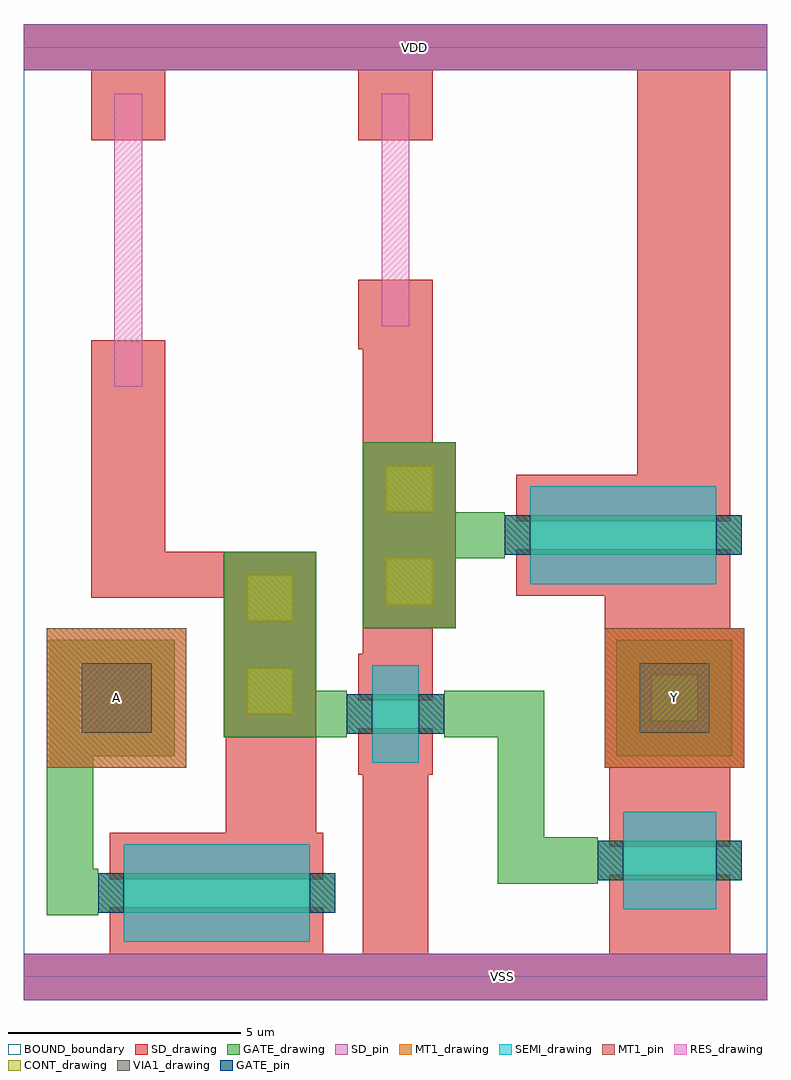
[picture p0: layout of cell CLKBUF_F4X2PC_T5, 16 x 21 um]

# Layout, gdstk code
from math import pi, radians
import gdstk
lib = gdstk.Library(unit=1e-6, precision=1e-09)
def R(c, l, rs):  # rectangles x0, y0, x1, y1
    for r in rs: c.add(gdstk.rectangle(r[:2], r[2:], *l))
def P(c, l, *ps):  # polygons
    for p in ps: c.add(gdstk.Polygon(p, *l))
RES_drawing = (1, 0)
SEMI_drawing = (3, 0)
SD_drawing = (10, 0)
SD_pin = (10, 3)
GATE_drawing = (11, 0)
GATE_pin = (11, 3)
MT1_drawing = (20, 0)
MT1_pin = (20, 3)
CONT_drawing = (30, 0)
VIA1_drawing = (41, 0)
BOUND_boundary = (150, 5)

nch_cdns_772544864490 = lib.new_cell('nch_CDNS_772544864490')
R(nch_cdns_772544864490, SEMI_drawing, [(-1.05,-2,1.05,2)])
R(nch_cdns_772544864490, SD_drawing, [(-1.3,-2.3,-0.3,2.3), (0.3,-2.3,1.3,2.3)])
R(nch_cdns_772544864490, GATE_drawing, [(-0.425,-2.55,0.425,2.55)])
R(nch_cdns_772544864490, GATE_pin, [(-0.425,-2.55,0.425,-2), (-0.425,2,0.425,2.55)])

res_cdns_772544864491 = lib.new_cell('res_CDNS_772544864491')
R(res_cdns_772544864491, RES_drawing, [(-0.3,-3.15,0.3,3.15)])
R(res_cdns_772544864491, SD_drawing, [(-0.8,-3.65,0.8,-2.15), (-0.8,2.15,0.8,3.65)])

res_cdns_772544864492 = lib.new_cell('res_CDNS_772544864492')
R(res_cdns_772544864492, RES_drawing, [(-0.3,-2.5,0.3,2.5)])
R(res_cdns_772544864492, SD_drawing, [(-0.8,-3,0.8,-1.5), (-0.8,1.5,0.8,3)])

nch_cdns_772544864493 = lib.new_cell('nch_CDNS_772544864493')
R(nch_cdns_772544864493, SEMI_drawing, [(-1.05,-1,1.05,1)])
R(nch_cdns_772544864493, SD_drawing, [(-1.3,-1.3,-0.3,1.3), (0.3,-1.3,1.3,1.3)])
R(nch_cdns_772544864493, GATE_drawing, [(-0.425,-1.55,0.425,1.55)])
R(nch_cdns_772544864493, GATE_pin, [(-0.425,-1.55,0.425,-1), (-0.425,1,0.425,1.55)])

nch_cdns_772544864494 = lib.new_cell('nch_CDNS_772544864494')
R(nch_cdns_772544864494, SEMI_drawing, [(-1.05,-0.5,1.05,0.5)])
R(nch_cdns_772544864494, SD_drawing, [(-1.3,-0.8,-0.3,0.8), (0.3,-0.8,1.3,0.8)])
R(nch_cdns_772544864494, GATE_drawing, [(-0.425,-1.05,0.425,1.05)])
R(nch_cdns_772544864494, GATE_pin, [(-0.425,-1.05,0.425,-0.5), (-0.425,0.5,0.425,1.05)])

gate_mt1_cdns_7725448644 = lib.new_cell('GATE_MT1_CDNS_772544864490')
R(gate_mt1_cdns_7725448644, GATE_drawing, [(-1.25,-1.25,1.25,1.25)])
R(gate_mt1_cdns_7725448644, MT1_drawing, [(-1.25,-1.25,1.25,1.25)])
R(gate_mt1_cdns_7725448644, VIA1_drawing, [(-0.75,-0.75,0.75,0.75)])

sd_gate_cdns_77254486449 = lib.new_cell('SD_GATE_CDNS_772544864491')
R(sd_gate_cdns_77254486449, SD_drawing, [(-1,-1,1,1)])
R(sd_gate_cdns_77254486449, GATE_drawing, [(-1,-1,1,1)])
R(sd_gate_cdns_77254486449, CONT_drawing, [(-0.5,-0.5,0.5,0.5)])

c_sd_gate_cdns_77254486449 = lib.new_cell('SD_GATE_CDNS_772544864492')
R(c_sd_gate_cdns_77254486449, SD_drawing, [(-1,-2,1,2)])
R(c_sd_gate_cdns_77254486449, GATE_drawing, [(-1,-2,1,2)])
R(c_sd_gate_cdns_77254486449, CONT_drawing, [(-0.5,-1.5,0.5,-0.5), (-0.5,0.5,0.5,1.5)])

c_sd_gate_cdns_77254486449_ = lib.new_cell('SD_GATE_CDNS_772544864493')
R(c_sd_gate_cdns_77254486449_, SD_drawing, [(-2,-1,2,1)])
R(c_sd_gate_cdns_77254486449_, GATE_drawing, [(-2,-1,2,1)])
R(c_sd_gate_cdns_77254486449_, CONT_drawing, [(-1.5,-0.5,-0.5,0.5), (0.5,-0.5,1.5,0.5)])

clkbuf_f4x2pc_t5 = lib.new_cell('CLKBUF_F4X2PC_T5')
R(clkbuf_f4x2pc_t5, SD_drawing, [(12.5,4.5,15.5,7.5), (7.3,6.95,8.8,13.5), (12.5,7.5,15.2,8.2)])
R(clkbuf_f4x2pc_t5, SD_pin, [(0,-0.5,16,0.5), (0,19.5,16,20.5)])
P(clkbuf_f4x2pc_t5, GATE_drawing, [(12.25,3),(12.25,2),(12.35,2),(12.35,2.125),(12.4,2.125),(12.4,2.875),(12.35,2.875),(12.35,3)],
  [(9.15,6.15),(9.15,5.15),(9.05,5.15),(9.05,5.275),(9,5.275),(9,6.025),(9.05,6.025),(9.05,6.15)],
  [(6.85,6.15),(6.85,5.15),(6.95,5.15),(6.95,5.275),(7,5.275),(7,6.025),(6.95,6.025),(6.95,6.15)],
  [(10.25,10),(10.25,9),(10.35,9),(10.35,9.125),(10.4,9.125),(10.4,9.875),(10.35,9.875),(10.35,10)],
  [(1.5,2.325),(1.5,1.325),(1.6,1.325),(1.6,1.425),(1.65,1.425),(1.65,2.175),(1.6,2.175),(1.6,2.325)])
R(clkbuf_f4x2pc_t5, MT1_drawing, [(0.5,4.5,3.5,7.5), (12.5,4.5,15.5,7.5)])
R(clkbuf_f4x2pc_t5, MT1_pin, [(0.5,4.5,3.5,7.5), (12.5,4.5,15.5,7.5)])
R(clkbuf_f4x2pc_t5, BOUND_boundary, [(0,0,16,20)])
clkbuf_f4x2pc_t5.add(gdstk.FlexPath([(9.15,5.65),(10.7,5.65)], 1, ends=(0, 0.5), simple_path=True, layer=11, datatype=0))  # GATE_drawing
clkbuf_f4x2pc_t5.add(gdstk.FlexPath([(1,1.825),(1,6.75)], 1, ends="extended", simple_path=True, layer=11, datatype=0))  # GATE_drawing
clkbuf_f4x2pc_t5.add(gdstk.FlexPath([(2.75,6),(2,6)], 1, ends=(0.5, 0), simple_path=True, layer=11, datatype=0))  # GATE_drawing
clkbuf_f4x2pc_t5.add(gdstk.FlexPath([(5.3,5.65),(6.85,5.65)], 1, ends=(0.5, 0), simple_path=True, layer=11, datatype=0))  # GATE_drawing
clkbuf_f4x2pc_t5.add(gdstk.FlexPath([(5.3,7.15),(5.3,5.65)], 1, ends=(0, 0.5), simple_path=True, layer=11, datatype=0))  # GATE_drawing
clkbuf_f4x2pc_t5.add(gdstk.FlexPath([(10.7,2.5),(12.35,2.5)], 1, ends=(0.5, 0), simple_path=True, layer=11, datatype=0))  # GATE_drawing
clkbuf_f4x2pc_t5.add(gdstk.FlexPath([(10.35,9.5),(8.55,9.5)], 1, ends="flush", simple_path=True, layer=11, datatype=0))  # GATE_drawing
clkbuf_f4x2pc_t5.add(gdstk.FlexPath([(10.7,5.65),(10.7,2.5)], 1, ends="extended", simple_path=True, layer=11, datatype=0))  # GATE_drawing
clkbuf_f4x2pc_t5.add(gdstk.FlexPath([(4.8,8.65),(4.8,9.15)], 1, ends=(0.5, 0), simple_path=True, layer=10, datatype=0))  # SD_drawing
clkbuf_f4x2pc_t5.add(gdstk.FlexPath([(8.3,20),(5.3,20)], 1, ends=(0.8, 0.8), simple_path=True, layer=10, datatype=0))  # SD_drawing
clkbuf_f4x2pc_t5.add(gdstk.FlexPath([(5.3,20),(0,20)], 1, ends=(0.8, 0), simple_path=True, layer=10, datatype=0))  # SD_drawing
clkbuf_f4x2pc_t5.add(gdstk.FlexPath([(5.05,5.15),(5.05,3.1)], 1.4, ends="flush", simple_path=True, layer=10, datatype=0))  # SD_drawing
clkbuf_f4x2pc_t5.add(gdstk.FlexPath([(16,20),(8.3,20)], 1, ends=(0, 0.8), simple_path=True, layer=10, datatype=0))  # SD_drawing
clkbuf_f4x2pc_t5.add(gdstk.FlexPath([(2.25,12.2),(2.25,8.65)], 1.6, ends=(0, 0.5), simple_path=True, layer=10, datatype=0))  # SD_drawing
clkbuf_f4x2pc_t5.add(gdstk.FlexPath([(2.25,8.65),(4.8,8.65)], 1, ends=(0.8, 0.5), simple_path=True, layer=10, datatype=0))  # SD_drawing
clkbuf_f4x2pc_t5.add(gdstk.FlexPath([(8,4.35),(8,0)], 1.4, ends=(0, 0.5), simple_path=True, layer=10, datatype=0))  # SD_drawing
clkbuf_f4x2pc_t5.add(gdstk.FlexPath([(13.9,0),(16,0)], 1, ends=(1.3, 0), simple_path=True, layer=10, datatype=0))  # SD_drawing
clkbuf_f4x2pc_t5.add(gdstk.FlexPath([(13.9,1.2),(13.9,0)], 2.6, ends=(0, 0.5), simple_path=True, layer=10, datatype=0))  # SD_drawing
clkbuf_f4x2pc_t5.add(gdstk.FlexPath([(5.6,5.15),(5.6,3.1)], 1.4, ends="flush", simple_path=True, layer=10, datatype=0))  # SD_drawing
clkbuf_f4x2pc_t5.add(gdstk.FlexPath([(13.9,3.8),(13.9,8.2)], 2.6, ends="flush", simple_path=True, layer=10, datatype=0))  # SD_drawing
clkbuf_f4x2pc_t5.add(gdstk.FlexPath([(14.2,10.8),(14.2,20)], 2, ends=(0, 0.5), simple_path=True, layer=10, datatype=0))  # SD_drawing
clkbuf_f4x2pc_t5.add(gdstk.FlexPath([(8,0),(13.9,0)], 1, ends=(0.7, 1.3), simple_path=True, layer=10, datatype=0))  # SD_drawing
clkbuf_f4x2pc_t5.add(gdstk.FlexPath([(0,0),(8,0)], 1, ends=(0, 0.7), simple_path=True, layer=10, datatype=0))  # SD_drawing
clkbuf_f4x2pc_t5.add(gdstk.Reference(nch_cdns_772544864490, (4.15,1.8), rotation=pi/2))
clkbuf_f4x2pc_t5.add(gdstk.Reference(nch_cdns_772544864490, (12.9,9.5), rotation=pi/2))
clkbuf_f4x2pc_t5.add(gdstk.Reference(res_cdns_772544864491, (2.25,15.85)))
clkbuf_f4x2pc_t5.add(gdstk.Reference(res_cdns_772544864492, (8,16.5)))
clkbuf_f4x2pc_t5.add(gdstk.Reference(nch_cdns_772544864493, (13.9,2.5), rotation=pi/2))
clkbuf_f4x2pc_t5.add(gdstk.Reference(nch_cdns_772544864494, (8,5.65), rotation=pi/2))
clkbuf_f4x2pc_t5.add(gdstk.Reference(gate_mt1_cdns_7725448644, (14,6)))
clkbuf_f4x2pc_t5.add(gdstk.Reference(gate_mt1_cdns_7725448644, (2,6)))
clkbuf_f4x2pc_t5.add(gdstk.Reference(sd_gate_cdns_77254486449, (14,6)))
clkbuf_f4x2pc_t5.add(gdstk.Reference(c_sd_gate_cdns_77254486449, (5.3,7.15)))
clkbuf_f4x2pc_t5.add(gdstk.Reference(c_sd_gate_cdns_77254486449_, (8.3,9.5), rotation=pi/2))
clkbuf_f4x2pc_t5.add(gdstk.Label('A', (2,6), layer=20, texttype=3))
clkbuf_f4x2pc_t5.add(gdstk.Label('Y', (14,6), layer=20, texttype=3))
clkbuf_f4x2pc_t5.add(gdstk.Label('VDD', (8.4,20), layer=10, texttype=3))
clkbuf_f4x2pc_t5.add(gdstk.Label('VSS', (10.3,0), layer=10, texttype=3))

lib.write_gds('CLKBUF_F4X2PC_T5.gds')
